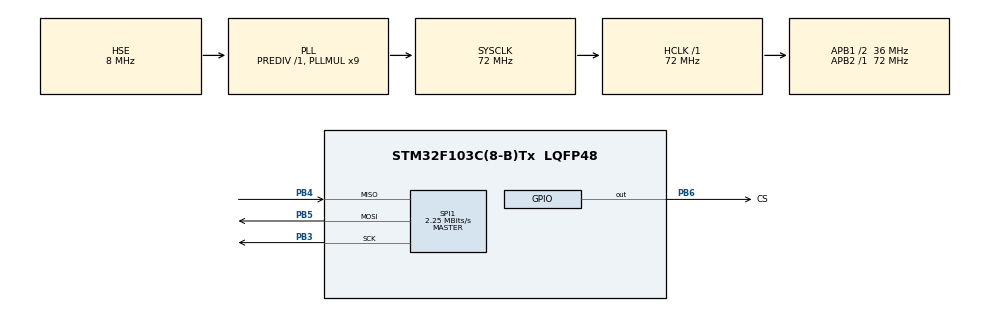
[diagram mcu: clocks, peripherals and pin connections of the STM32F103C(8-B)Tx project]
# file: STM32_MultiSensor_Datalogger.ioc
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Dma.Request0=SPI1_RX
Dma.Request1=SPI1_TX
Dma.SPI1_RX.0.Direction=DMA_PERIPH_TO_MEMORY
Dma.SPI1_RX.0.Instance=DMA1_Channel2
Dma.SPI1_RX.0.MemDataAlignment=DMA_MDATAALIGN_BYTE
Dma.SPI1_RX.0.MemInc=DMA_MINC_ENABLE
Dma.SPI1_RX.0.Mode=DMA_NORMAL
Dma.SPI1_RX.0.PeriphDataAlignment=DMA_PDATAALIGN_BYTE
Dma.SPI1_RX.0.PeriphInc=DMA_PINC_DISABLE
Dma.SPI1_RX.0.Priority=DMA_PRIORITY_LOW
Dma.SPI1_TX.1.Direction=DMA_MEMORY_TO_PERIPH
Dma.SPI1_TX.1.Instance=DMA1_Channel3
Dma.SPI1_TX.1.MemDataAlignment=DMA_MDATAALIGN_BYTE
Dma.SPI1_TX.1.MemInc=DMA_MINC_ENABLE
Dma.SPI1_TX.1.Mode=DMA_NORMAL
Dma.SPI1_TX.1.PeriphDataAlignment=DMA_PDATAALIGN_BYTE
Dma.SPI1_TX.1.PeriphInc=DMA_PINC_DISABLE
Dma.SPI1_TX.1.Priority=DMA_PRIORITY_LOW
FATFS._USE_LABEL=1
FATFS._USE_LFN=3
Mcu.Family=STM32F1
Mcu.Name=STM32F103C(8-B)Tx
Mcu.Package=LQFP48
NVIC.DMA1_Channel2_IRQn=true\:0\:0\:false\:false\:true\:false\:true\:true
NVIC.DMA1_Channel3_IRQn=true\:0\:0\:false\:false\:true\:false\:true\:true
NVIC.PriorityGroup=NVIC_PRIORITYGROUP_4
PA13.Mode=Serial_Wire
PA13.Signal=SYS_JTMS-SWDIO
PA14.Mode=Serial_Wire
PA14.Signal=SYS_JTCK-SWCLK
PB3.Mode=Full_Duplex_Master
PB3.Signal=SPI1_SCK
PB4.Mode=Full_Duplex_Master
PB4.Signal=SPI1_MISO
PB5.Mode=Full_Duplex_Master
PB5.Signal=SPI1_MOSI
PB6.GPIO_Label=CS
PB6.GPIO_Speed=GPIO_SPEED_FREQ_HIGH
PB6.PinState=GPIO_PIN_SET
PB6.Signal=GPIO_Output
PD0-OSC_IN.Mode=HSE-External-Oscillator
PD0-OSC_IN.Signal=RCC_OSC_IN
PD1-OSC_OUT.Mode=HSE-External-Oscillator
PD1-OSC_OUT.Signal=RCC_OSC_OUT
ProjectManager.HeapSize=0x200
ProjectManager.StackSize=0x400
ProjectManager.TargetToolchain=STM32CubeIDE
RCC.AHBFreq_Value=72000000
RCC.APB1CLKDivider=RCC_HCLK_DIV2
RCC.APB1Freq_Value=36000000
RCC.APB1TimFreq_Value=72000000
RCC.APB2Freq_Value=72000000
RCC.APB2TimFreq_Value=72000000
RCC.HCLKFreq_Value=72000000
RCC.PLLMUL=RCC_PLL_MUL9
RCC.PLLSourceVirtual=RCC_PLLSOURCE_HSE
RCC.SYSCLKFreq_VALUE=72000000
RCC.SYSCLKSource=RCC_SYSCLKSOURCE_PLLCLK
RCC.USBFreq_Value=72000000
SPI1.BaudRatePrescaler=SPI_BAUDRATEPRESCALER_32
SPI1.CalculateBaudRate=2.25 MBits/s
SPI1.Direction=SPI_DIRECTION_2LINES
SPI1.Mode=SPI_MODE_MASTER
SPI1.VirtualType=VM_MASTER
VP_FATFS_VS_Generic.Mode=User_defined
board=custom

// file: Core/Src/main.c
/* USER CODE BEGIN Header */
/**
 ******************************************************************************
 * @file           : main.c
 * @brief          : Main program body
 ******************************************************************************
 * @attention
 *
 * Copyright (c) 2026 STMicroelectronics.
 * All rights reserved.
 *
 * This software is licensed under terms that can be found in the LICENSE file
 * in the root directory of this software component.
 * If no LICENSE file comes with this software, it is provided AS-IS.
 *
 ******************************************************************************
 */
/* USER CODE END Header */
#include "main.h"
#include "fatfs.h"

/* USER CODE BEGIN Includes */
#include "button.h"
#include "lcd.h"
#include "mpu6050.h"
#include "tasks.h"
#include "timer2.h"
#include "timer3.h"
#include "uart.h"
#include "utils.h"
#include "dwt.h"
#include "ds18b20.h"
#include "dht11.h"
#include "sd_functions.h"
#include "sd_data_logger.h"
#include "sd_spi.h"

/* USER CODE END Includes */

/* USER CODE BEGIN PM */
#define DS18B20_READ_TICKS  100
#define DHT11_READ_TICKS    100
#define SDCARD_SAVE_TICKS   500
#define MPU_READ_TICKS      5
#define LCD_UPDATE_TICKS    10
#define UART_UPDATE_TICKS   10

/* USER CODE END PM */

SPI_HandleTypeDef hspi1;
DMA_HandleTypeDef hdma_spi1_rx;
DMA_HandleTypeDef hdma_spi1_tx;

void SystemClock_Config(void);
static void MX_GPIO_Init(void);
static void MX_DMA_Init(void);
static void MX_SPI1_Init(void);

int main(void)
{

  /* MCU Configuration--------------------------------------------------------*/

  /* Reset of all peripherals, Initializes the Flash interface and the Systick. */
  HAL_Init();

  /* Configure the system clock */
  SystemClock_Config();

  /* Initialize all configured peripherals */
  MX_GPIO_Init();
  MX_DMA_Init();
  MX_SPI1_Init();
  /* USER CODE BEGIN 2 */

  // Initialize ALL modules
  TIMER2_Init();
  USART1_Init();
  DHT11_Init();
  I2C2_Init();
  LCD_Init();
  MPU6050_Init();
  TIMER4_Init();
  DWT_Init();
  DS18B20_Init();

  // Loop counters
  uint16_t dht_count = 0;
  uint16_t mpu_count = 0;
  uint16_t lcd_count = 0;
  uint16_t uart_count = 0;
  uint16_t sdcard_count = 0;
  uint16_t ds18b20_count = 0;

  LCD_Clear();
  LCD_SendString("STM32 PROJECT");
  LCD_SetCursor(1, 0);
  LCD_SendString("INITIALIZING...");

  DWT_Delay_ms(2000);

  if(SD_DataLogger_Init() == SD_LOGGER_OK)
  {
    USART1_SendString("SD Logger ready!\r\n");

    LCD_Clear();
    LCD_SendString("SD CARD READY");
    LCD_SetCursor(1, 0);

    if(SD_IsSDHC())
    {
      LCD_SendString("TYPE: SDHC/SDXC");
    }
    else
    {
      LCD_SendString("TYPE: SDSC");
    }
  }
  else
  {
    LCD_Clear();
    LCD_SendString("SD CARD FAILED");
    LCD_SetCursor(1, 0);
    LCD_SendString("CHECK CARD");
    USART1_SendString("SD Logger init FAILED!\r\n");
  }

  DWT_Delay_ms(2000);

  Button_Init(); // Initialize button after all system initialize

  // Setup TIM3 for 10ms control loop
  TIMER3_SetupPeriod(10);  // 10ms period

  /* USER CODE END 2 */

  /* Infinite loop */
  while(1)
  {

    /* USER CODE BEGIN 3 */

    // Check buttons status
    Task_Button_Status();

    // Update feedback timer
    Task_Feedback_Update();

    // Run tasks at different rates
    // Read DS18B20 every 1 seconds
    if(ds18b20_count++ >= DS18B20_READ_TICKS)
    {
      Task_DS18B20_Read();
      ds18b20_count = 0;
    }

    // Read DHT11 every 1 seconds
    if(dht_count++ >= DHT11_READ_TICKS)
    {
      Task_DHT11_Read();
      dht_count = 0;
    }

    // Read MPU6050 every 50ms
    if(mpu_count++ >= MPU_READ_TICKS)
    {
      Task_MPU6050_Read();
      mpu_count = 0;
    }

    // Update LCD every 100ms
    if(lcd_count++ >= LCD_UPDATE_TICKS)
    {
      Task_LCD_Update();
      lcd_count = 0;
    }

    // Update UART output every 100ms
    if(uart_count++ >= UART_UPDATE_TICKS)
    {
      Task_UART_Output();
      uart_count = 0;
    }

    // Save data every 5 seconds
    if(sdcard_count++ >= SDCARD_SAVE_TICKS)  // 500 * 10ms = 5 seconds
    {
      // Uncomment to enable 5 sec auto save
      // Task_SD_DataLogger();
      sdcard_count = 0;
    }

    TIMER3_WaitPeriod(); // Heart Beat time check
  }
  /* USER CODE END 3 */
}

void SystemClock_Config(void)
{
  RCC_OscInitTypeDef RCC_OscInitStruct = {0};
  RCC_ClkInitTypeDef RCC_ClkInitStruct = {0};

  /** Initializes the RCC Oscillators according to the specified parameters
   * in the RCC_OscInitTypeDef structure.
   */
  RCC_OscInitStruct.OscillatorType = RCC_OSCILLATORTYPE_HSE;
  RCC_OscInitStruct.HSEState = RCC_HSE_ON;
  RCC_OscInitStruct.HSEPredivValue = RCC_HSE_PREDIV_DIV1;
  RCC_OscInitStruct.HSIState = RCC_HSI_ON;
  RCC_OscInitStruct.PLL.PLLState = RCC_PLL_ON;
  RCC_OscInitStruct.PLL.PLLSource = RCC_PLLSOURCE_HSE;
  RCC_OscInitStruct.PLL.PLLMUL = RCC_PLL_MUL9;
  if(HAL_RCC_OscConfig(&RCC_OscInitStruct) != HAL_OK)
  {
    Error_Handler();
  }

  /** Initializes the CPU, AHB and APB buses clocks
   */
  RCC_ClkInitStruct.ClockType = RCC_CLOCKTYPE_HCLK | RCC_CLOCKTYPE_SYSCLK | RCC_CLOCKTYPE_PCLK1 | RCC_CLOCKTYPE_PCLK2;
  RCC_ClkInitStruct.SYSCLKSource = RCC_SYSCLKSOURCE_PLLCLK;
  RCC_ClkInitStruct.AHBCLKDivider = RCC_SYSCLK_DIV1;
  RCC_ClkInitStruct.APB1CLKDivider = RCC_HCLK_DIV2;
  RCC_ClkInitStruct.APB2CLKDivider = RCC_HCLK_DIV1;

  if(HAL_RCC_ClockConfig(&RCC_ClkInitStruct, FLASH_LATENCY_2) != HAL_OK)
  {
    Error_Handler();
  }
}

static void MX_SPI1_Init(void)
{

  /* SPI1 parameter configuration*/
  hspi1.Instance = SPI1;
  hspi1.Init.Mode = SPI_MODE_MASTER;
  hspi1.Init.Direction = SPI_DIRECTION_2LINES;
  hspi1.Init.DataSize = SPI_DATASIZE_8BIT;
  hspi1.Init.CLKPolarity = SPI_POLARITY_LOW;
  hspi1.Init.CLKPhase = SPI_PHASE_1EDGE;
  hspi1.Init.NSS = SPI_NSS_SOFT;
  hspi1.Init.BaudRatePrescaler = SPI_BAUDRATEPRESCALER_32;
  hspi1.Init.FirstBit = SPI_FIRSTBIT_MSB;
  hspi1.Init.TIMode = SPI_TIMODE_DISABLE;
  hspi1.Init.CRCCalculation = SPI_CRCCALCULATION_DISABLE;
  hspi1.Init.CRCPolynomial = 10;
  if(HAL_SPI_Init(&hspi1) != HAL_OK)
  {
    Error_Handler();
  }

}

static void MX_DMA_Init(void)
{

  /* DMA controller clock enable */
  __HAL_RCC_DMA1_CLK_ENABLE();

  /* DMA interrupt init */
  /* DMA1_Channel2_IRQn interrupt configuration */
  HAL_NVIC_SetPriority(DMA1_Channel2_IRQn, 0, 0);
  HAL_NVIC_EnableIRQ(DMA1_Channel2_IRQn);
  /* DMA1_Channel3_IRQn interrupt configuration */
  HAL_NVIC_SetPriority(DMA1_Channel3_IRQn, 0, 0);
  HAL_NVIC_EnableIRQ(DMA1_Channel3_IRQn);

}

static void MX_GPIO_Init(void)
{
  GPIO_InitTypeDef GPIO_InitStruct = {0};

  /* GPIO Ports Clock Enable */
  __HAL_RCC_GPIOD_CLK_ENABLE();
  __HAL_RCC_GPIOA_CLK_ENABLE();
  __HAL_RCC_GPIOB_CLK_ENABLE();

  /*Configure GPIO pin Output Level */
  HAL_GPIO_WritePin(CS_GPIO_Port, CS_Pin, GPIO_PIN_SET);

  /*Configure GPIO pin : CS_Pin */
  GPIO_InitStruct.Pin = CS_Pin;
  GPIO_InitStruct.Mode = GPIO_MODE_OUTPUT_PP;
  GPIO_InitStruct.Pull = GPIO_NOPULL;
  GPIO_InitStruct.Speed = GPIO_SPEED_FREQ_HIGH;
  HAL_GPIO_Init(CS_GPIO_Port, &GPIO_InitStruct);

}

void Error_Handler(void)
{
  __disable_irq();
  while(1)
  {
  }
}
